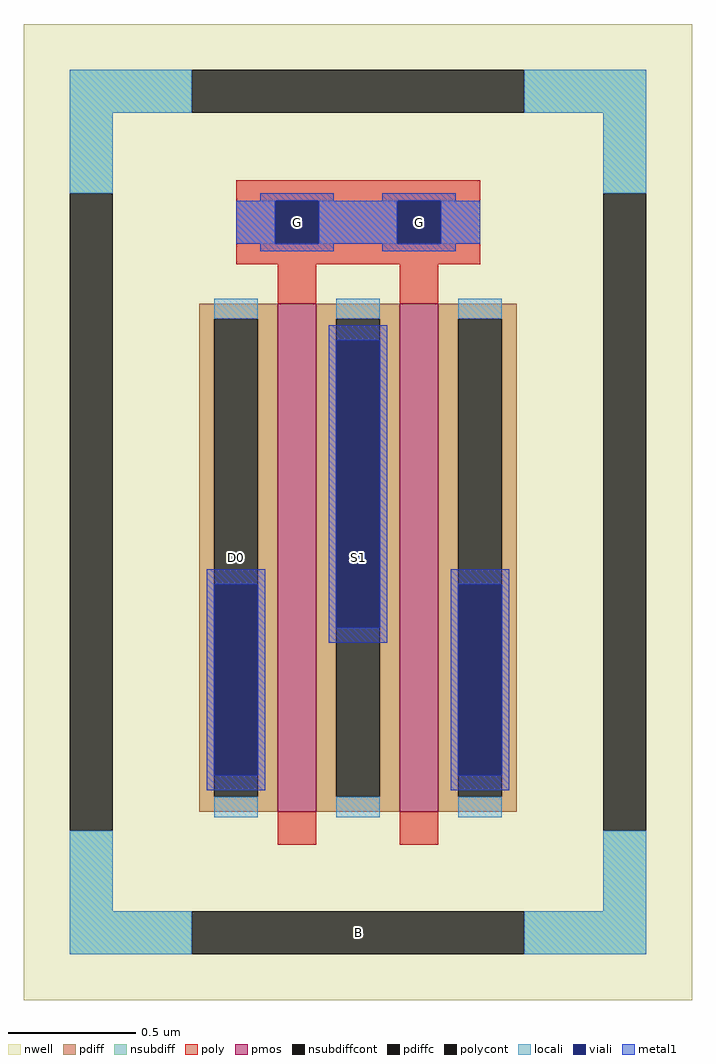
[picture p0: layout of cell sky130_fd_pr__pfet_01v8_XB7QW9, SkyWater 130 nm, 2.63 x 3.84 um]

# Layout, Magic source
magic
tech sky130A
magscale 1 2
<< nwell >>
rect -263 -384 263 384
<< pmos >>
rect -63 -236 -33 164
rect 33 -236 63 164
<< pdiff >>
rect -125 152 -63 164
rect -125 -224 -113 152
rect -79 -224 -63 152
rect -125 -236 -63 -224
rect -33 152 33 164
rect -33 -224 -17 152
rect 17 -224 33 152
rect -33 -236 33 -224
rect 63 152 125 164
rect 63 -224 79 152
rect 113 -224 125 152
rect 63 -236 125 -224
<< pdiffc >>
rect -113 -224 -79 152
rect -17 -224 17 152
rect 79 -224 113 152
<< nsubdiff >>
rect -227 314 -131 348
rect 131 314 227 348
rect -227 251 -193 314
rect 193 251 227 314
rect -227 -314 -193 -251
rect 193 -314 227 -251
rect -227 -348 -131 -314
rect 131 -348 227 -314
<< nsubdiffcont >>
rect -131 314 131 348
rect -227 -251 -193 251
rect 193 -251 227 251
rect -131 -348 131 -314
<< poly >>
rect -96 245 96 261
rect -96 211 -65 245
rect -31 211 31 245
rect 65 211 96 245
rect -96 195 96 211
rect -63 164 -33 195
rect 33 164 63 195
rect -63 -262 -33 -236
rect 33 -262 63 -236
<< polycont >>
rect -65 211 -31 245
rect 31 211 65 245
<< locali >>
rect -227 314 -131 348
rect 131 314 227 348
rect -227 251 -193 314
rect 193 251 227 314
rect -96 211 -65 245
rect -31 211 31 245
rect 65 211 96 245
rect -113 152 -79 168
rect -113 -240 -79 -224
rect -17 152 17 168
rect -17 -240 17 -224
rect 79 152 113 168
rect 79 -240 113 -224
rect -227 -314 -193 -251
rect 193 -314 227 -251
rect -227 -348 -131 -314
rect 131 -348 227 -314
<< viali >>
rect -65 211 -31 245
rect 31 211 65 245
rect -113 -207 -79 -57
rect -17 -91 17 135
rect 79 -207 113 -57
<< metal1 >>
rect -77 245 -19 251
rect 19 245 77 251
rect -96 211 -65 245
rect -31 211 31 245
rect 65 211 96 245
rect -77 205 -19 211
rect 19 205 77 211
rect -23 135 23 147
rect -119 -57 -73 -45
rect -119 -207 -113 -57
rect -79 -207 -73 -57
rect -23 -91 -17 135
rect 17 -91 23 135
rect -23 -103 23 -91
rect 73 -57 119 -45
rect -119 -219 -73 -207
rect 73 -207 79 -57
rect 113 -207 119 -57
rect 73 -219 119 -207
<< labels >>
rlabel nsubdiffcont 0 -331 0 -331 0 B
port 1 nsew
rlabel pdiffc -96 -36 -96 -36 0 D0
port 2 nsew
rlabel polycont -48 228 -48 228 0 G
port 3 nsew
rlabel pdiffc 0 -36 0 -36 0 S1
port 4 nsew
rlabel polycont 48 228 48 228 0 G
port 3 nsew
<< properties >>
string FIXED_BBOX -210 -331 210 331
string gencell sky130_fd_pr__pfet_01v8
string library sky130
string parameters w 2 l 0.15 m 1 nf 2 diffcov 100 polycov 100 guard 1 glc 1 grc 1 gtc 1 gbc 1 tbcov 100 rlcov 100 topc 1 botc 0 poverlap 0 doverlap 1 lmin 0.15 wmin 0.42 class mosfet compatible {sky130_fd_pr__pfet_01v8  sky130_fd_pr__pfet_01v8_lvt sky130_fd_pr__pfet_01v8_hvt  sky130_fd_pr__pfet_g5v0d10v5} full_metal 1 conn_gates 1 viasrc -60 viadrn +40 viagate 100 viagb 0 viagr 0 viagl 0 viagt 0 doports 1
<< end >>
